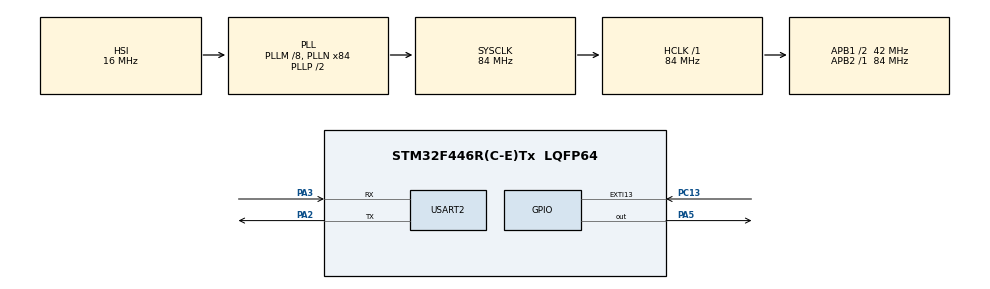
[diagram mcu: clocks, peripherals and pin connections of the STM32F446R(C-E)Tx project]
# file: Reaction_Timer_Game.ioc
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FREERTOS.BinarySemaphores01=ButtonSemaphore,Dynamic,NULL,Available
FREERTOS.Tasks01=LED_Task,24,128,StartLED_Task,Default,NULL,Dynamic,NULL,NULL;UART_Task,8,128,StartUART_Task,Default,NULL,Dynamic,NULL,NULL
Mcu.Family=STM32F4
Mcu.Name=STM32F446R(C-E)Tx
Mcu.Package=LQFP64
NVIC.EXTI15_10_IRQn=true\:5\:0\:false\:false\:true\:true\:true\:true\:true
NVIC.PriorityGroup=NVIC_PRIORITYGROUP_4
PA2.Mode=Asynchronous
PA2.Signal=USART2_TX
PA3.Mode=Asynchronous
PA3.Signal=USART2_RX
PA5.Signal=GPIO_Output
PC13.Signal=GPXTI13
ProjectManager.HeapSize=0x200
ProjectManager.StackSize=0x400
ProjectManager.TargetToolchain=STM32CubeIDE
RCC.AHBFreq_Value=84000000
RCC.APB1CLKDivider=RCC_HCLK_DIV2
RCC.APB1Freq_Value=42000000
RCC.APB1TimFreq_Value=84000000
RCC.APB2Freq_Value=84000000
RCC.APB2TimFreq_Value=84000000
RCC.CortexFreq_Value=84000000
RCC.HCLKFreq_Value=84000000
RCC.PLLM=8
RCC.PLLN=84
RCC.SYSCLKFreq_VALUE=84000000
RCC.SYSCLKSource=RCC_SYSCLKSOURCE_PLLCLK
RCC.USBFreq_Value=84000000
RCC.VCOOutputFreq_Value=168000000
USART2.VirtualMode=VM_ASYNC
VP_FREERTOS_VS_CMSIS_V2.Mode=CMSIS_V2
board=custom

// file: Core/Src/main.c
/* USER CODE BEGIN Header */
/**
  ******************************************************************************
  * @file           : main.c
  * @brief          : Main program body
  ******************************************************************************
  * @attention
  *
  * Copyright (c) 2026 STMicroelectronics.
  * All rights reserved.
  *
  * This software is licensed under terms that can be found in the LICENSE file
  * in the root directory of this software component.
  * If no LICENSE file comes with this software, it is provided AS-IS.
  *
  ******************************************************************************
  */
/* USER CODE END Header */
#include "main.h"
#include "cmsis_os.h"

/* USER CODE BEGIN Includes */
#include <stdio.h>
#include <stdlib.h>
/* USER CODE END Includes */

UART_HandleTypeDef huart2;

/* Definitions for LED_Task */
osThreadId_t LED_TaskHandle;
const osThreadAttr_t LED_Task_attributes = {
  .name = "LED_Task",
  .stack_size = 128 * 4,
  .priority = (osPriority_t) osPriorityNormal,
};
/* Definitions for UART_Task */
osThreadId_t UART_TaskHandle;
const osThreadAttr_t UART_Task_attributes = {
  .name = "UART_Task",
  .stack_size = 128 * 4,
  .priority = (osPriority_t) osPriorityLow,
};
/* Definitions for ButtonSemaphore */
osSemaphoreId_t ButtonSemaphoreHandle;
const osSemaphoreAttr_t ButtonSemaphore_attributes = {
  .name = "ButtonSemaphore"
};
/* USER CODE BEGIN PV */
uint32_t startTick = 0;
uint32_t endTick = 0;
uint32_t reactionTime = 0;

volatile uint8_t gameStarted = 0;
/* USER CODE END PV */

void SystemClock_Config(void);
static void MX_GPIO_Init(void);
static void MX_USART2_UART_Init(void);
void StartLED_Task(void *argument);
void StartUART_Task(void *argument);

/* USER CODE BEGIN 0 */
#ifdef __GNUC__
int __io_putchar(int ch)
#else
int fputc(int ch, FILE *f)
#endif
{
    HAL_UART_Transmit(&huart2, (uint8_t *)&ch, 1, HAL_MAX_DELAY);
    return ch;
}
/* USER CODE END 0 */

int main(void)
{

  /* MCU Configuration--------------------------------------------------------*/

  /* Reset of all peripherals, Initializes the Flash interface and the Systick. */
  HAL_Init();

  /* Configure the system clock */
  SystemClock_Config();

  /* Initialize all configured peripherals */
  MX_GPIO_Init();
  MX_USART2_UART_Init();

  /* Init scheduler */
  osKernelInitialize();

  /* Create the semaphores(s) */
  /* creation of ButtonSemaphore */
  ButtonSemaphoreHandle = osSemaphoreNew(1, 0, &ButtonSemaphore_attributes);

  /* Create the thread(s) */
  /* creation of LED_Task */
  LED_TaskHandle = osThreadNew(StartLED_Task, NULL, &LED_Task_attributes);

  /* creation of UART_Task */
  UART_TaskHandle = osThreadNew(StartUART_Task, NULL, &UART_Task_attributes);

  /* Start scheduler */
  osKernelStart();

  /* We should never get here as control is now taken by the scheduler */

  /* Infinite loop */
  while (1)
  {

  }
}

void SystemClock_Config(void)
{
  RCC_OscInitTypeDef RCC_OscInitStruct = {0};
  RCC_ClkInitTypeDef RCC_ClkInitStruct = {0};

  /** Configure the main internal regulator output voltage
  */
  __HAL_RCC_PWR_CLK_ENABLE();
  __HAL_PWR_VOLTAGESCALING_CONFIG(PWR_REGULATOR_VOLTAGE_SCALE3);

  /** Initializes the RCC Oscillators according to the specified parameters
  * in the RCC_OscInitTypeDef structure.
  */
  RCC_OscInitStruct.OscillatorType = RCC_OSCILLATORTYPE_HSI;
  RCC_OscInitStruct.HSIState = RCC_HSI_ON;
  RCC_OscInitStruct.HSICalibrationValue = RCC_HSICALIBRATION_DEFAULT;
  RCC_OscInitStruct.PLL.PLLState = RCC_PLL_ON;
  RCC_OscInitStruct.PLL.PLLSource = RCC_PLLSOURCE_HSI;
  RCC_OscInitStruct.PLL.PLLM = 8;
  RCC_OscInitStruct.PLL.PLLN = 84;
  RCC_OscInitStruct.PLL.PLLP = RCC_PLLP_DIV2;
  RCC_OscInitStruct.PLL.PLLQ = 2;
  RCC_OscInitStruct.PLL.PLLR = 2;
  if (HAL_RCC_OscConfig(&RCC_OscInitStruct) != HAL_OK)
  {
    Error_Handler();
  }

  /** Initializes the CPU, AHB and APB buses clocks
  */
  RCC_ClkInitStruct.ClockType = RCC_CLOCKTYPE_HCLK|RCC_CLOCKTYPE_SYSCLK
                              |RCC_CLOCKTYPE_PCLK1|RCC_CLOCKTYPE_PCLK2;
  RCC_ClkInitStruct.SYSCLKSource = RCC_SYSCLKSOURCE_PLLCLK;
  RCC_ClkInitStruct.AHBCLKDivider = RCC_SYSCLK_DIV1;
  RCC_ClkInitStruct.APB1CLKDivider = RCC_HCLK_DIV2;
  RCC_ClkInitStruct.APB2CLKDivider = RCC_HCLK_DIV1;

  if (HAL_RCC_ClockConfig(&RCC_ClkInitStruct, FLASH_LATENCY_2) != HAL_OK)
  {
    Error_Handler();
  }
}

static void MX_USART2_UART_Init(void)
{

  huart2.Instance = USART2;
  huart2.Init.BaudRate = 115200;
  huart2.Init.WordLength = UART_WORDLENGTH_8B;
  huart2.Init.StopBits = UART_STOPBITS_1;
  huart2.Init.Parity = UART_PARITY_NONE;
  huart2.Init.Mode = UART_MODE_TX_RX;
  huart2.Init.HwFlowCtl = UART_HWCONTROL_NONE;
  huart2.Init.OverSampling = UART_OVERSAMPLING_16;
  if (HAL_UART_Init(&huart2) != HAL_OK)
  {
    Error_Handler();
  }

}

static void MX_GPIO_Init(void)
{
  GPIO_InitTypeDef GPIO_InitStruct = {0};

  /* GPIO Ports Clock Enable */
  __HAL_RCC_GPIOC_CLK_ENABLE();
  __HAL_RCC_GPIOA_CLK_ENABLE();

  /*Configure GPIO pin Output Level */
  HAL_GPIO_WritePin(GPIOA, GPIO_PIN_5, GPIO_PIN_RESET);

  /*Configure GPIO pin : PC13 */
  GPIO_InitStruct.Pin = GPIO_PIN_13;
  GPIO_InitStruct.Mode = GPIO_MODE_IT_RISING;
  GPIO_InitStruct.Pull = GPIO_NOPULL;
  HAL_GPIO_Init(GPIOC, &GPIO_InitStruct);

  /*Configure GPIO pin : PA5 */
  GPIO_InitStruct.Pin = GPIO_PIN_5;
  GPIO_InitStruct.Mode = GPIO_MODE_OUTPUT_PP;
  GPIO_InitStruct.Pull = GPIO_NOPULL;
  GPIO_InitStruct.Speed = GPIO_SPEED_FREQ_LOW;
  HAL_GPIO_Init(GPIOA, &GPIO_InitStruct);

  /* EXTI interrupt init*/
  HAL_NVIC_SetPriority(EXTI15_10_IRQn, 5, 0);
  HAL_NVIC_EnableIRQ(EXTI15_10_IRQn);

}

/* USER CODE BEGIN 4 */
void HAL_GPIO_EXTI_Callback(uint16_t GPIO_Pin)
{
    if(GPIO_Pin == GPIO_PIN_13)
    {
        if(gameStarted)
        {
            endTick = xTaskGetTickCount();

            osSemaphoreRelease(ButtonSemaphoreHandle);
        }
    }
}
/* USER CODE END 4 */

void StartLED_Task(void *argument)
{
  /* USER CODE BEGIN 5 */
  /* Infinite loop */
	  for(;;)
	  {
	    printf("\r\nGet Ready...\r\n");

	    osDelay((rand() % 3000) + 2000);

	    HAL_GPIO_WritePin(GPIOA, GPIO_PIN_5, GPIO_PIN_SET);

	    printf("LED ON! Press Button Fast!\r\n");

	    startTick = xTaskGetTickCount();

	    gameStarted = 1;

	    osSemaphoreAcquire(ButtonSemaphoreHandle, osWaitForever);

	    HAL_GPIO_WritePin(GPIOA, GPIO_PIN_5, GPIO_PIN_RESET);

	    reactionTime = endTick - startTick;

	    printf("Reaction Time: %lu ms\r\n", reactionTime);

	    if(reactionTime < 200)
	        printf("Excellent Reflex!\r\n");

	    else if(reactionTime < 500)
	        printf("Good Reflex!\r\n");

	    else
	        printf("Slow Reaction!\r\n");

	    gameStarted = 0;

	    osDelay(3000);
	  }
	}
  /* USER CODE END 5 */

void StartUART_Task(void *argument)
{
  /* USER CODE BEGIN StartUART_Task */
  /* Infinite loop */
  for(;;)
  {
    osDelay(100);
  }
  /* USER CODE END StartUART_Task */
}

void Error_Handler(void)
{
  __disable_irq();
  while (1)
  {
  }
}
